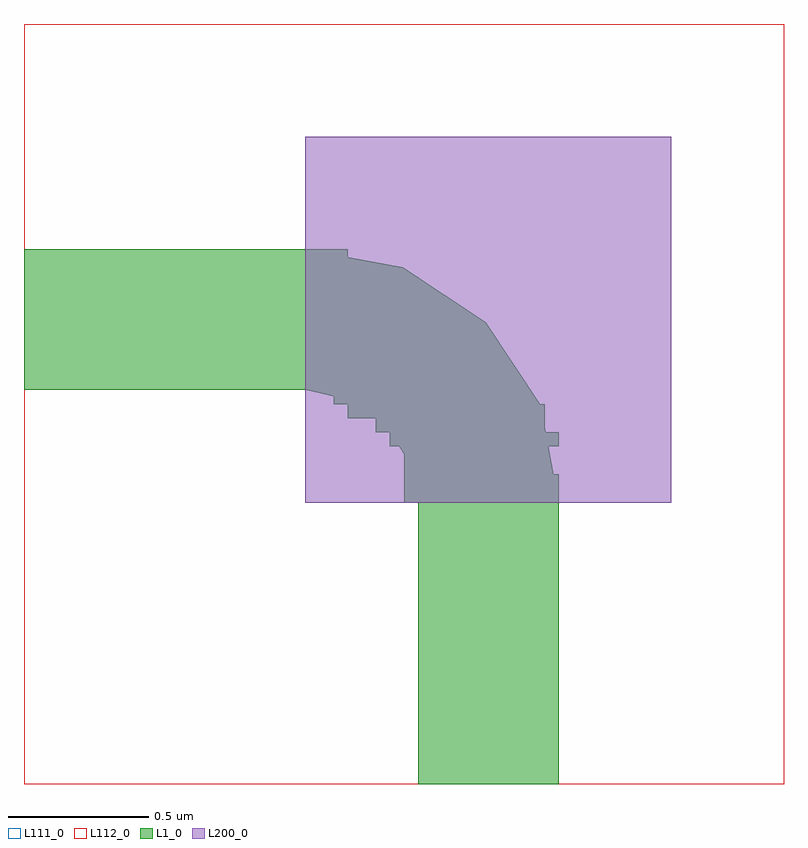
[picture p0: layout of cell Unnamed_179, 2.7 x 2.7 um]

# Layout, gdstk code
from math import pi, radians
import gdstk
lib = gdstk.Library(unit=1e-6, precision=1e-09)
def R(c, l, rs):  # rectangles x0, y0, x1, y1
    for r in rs: c.add(gdstk.rectangle(r[:2], r[2:], *l))
def P(c, l, *ps):  # polygons
    for p in ps: c.add(gdstk.Polygon(p, *l))
L1_0 = (1, 0)
L111_0 = (111, 0)
L112_0 = (112, 0)
L200_0 = (200, 0)

unnamed_178 = lib.new_cell('Unnamed_178')
R(unnamed_178, L1_0, [(0.4,-1,0.9,0), (-1,0.4,0,0.9)])

unnamed_180 = lib.new_cell('Unnamed_180')
R(unnamed_180, L1_0, [(0.4,-1,0.9,0), (0.4,-1,0.9,0), (-1,0.4,0,0.9)])
P(unnamed_180, L1_0, [(0.4,0),(0.365,0.151),(0.279,0.279),(0.151,0.365),(0,0.4),(0,0.9),(0.346,0.836),(0.64,0.64),(0.836,0.346),(0.9,0)],
  [(0.4,0),(0.365,0.151),(0.279,0.279),(0.151,0.365),(0,0.4),(0,0.9),(0.346,0.836),(0.64,0.64),(0.836,0.346),(0.9,0)],
  [(0.4,0),(0.365,0.151),(0.279,0.279),(0.151,0.365),(0,0.4),(0,0.9),(0.346,0.836),(0.64,0.64),(0.836,0.346),(0.9,0)])

unnamed_181 = lib.new_cell('Unnamed_181')
R(unnamed_181, L111_0, [(-1,-1,1.7,1.7)])

unnamed_182 = lib.new_cell('Unnamed_182')
R(unnamed_182, L112_0, [(-1,-1,1.7,1.7)])

unnamed_183 = lib.new_cell('Unnamed_183')
R(unnamed_183, L200_0, [(0,0,1.3,1.3)])

cell = lib.new_cell('CELL')
R(cell, L1_0, [(0,0,1,1)])

grid = lib.new_cell('GRID')
grid.add(gdstk.Reference(cell, (9,25)))
grid.add(gdstk.Reference(cell, (9,24)))
grid.add(gdstk.Reference(cell, (9,23)))
grid.add(gdstk.Reference(cell, (9,22)))
grid.add(gdstk.Reference(cell, (9,21)))
grid.add(gdstk.Reference(cell, (9,20)))
grid.add(gdstk.Reference(cell, (9,19)))
grid.add(gdstk.Reference(cell, (9,18)))
grid.add(gdstk.Reference(cell, (9,17)))
grid.add(gdstk.Reference(cell, (10,25)))
grid.add(gdstk.Reference(cell, (10,24)))
grid.add(gdstk.Reference(cell, (10,23)))
grid.add(gdstk.Reference(cell, (10,22)))
grid.add(gdstk.Reference(cell, (10,21)))
grid.add(gdstk.Reference(cell, (10,20)))
grid.add(gdstk.Reference(cell, (10,19)))
grid.add(gdstk.Reference(cell, (10,18)))
grid.add(gdstk.Reference(cell, (10,17)))
grid.add(gdstk.Reference(cell, (11,25)))
grid.add(gdstk.Reference(cell, (11,24)))
grid.add(gdstk.Reference(cell, (11,23)))
grid.add(gdstk.Reference(cell, (11,22)))
grid.add(gdstk.Reference(cell, (11,21)))
grid.add(gdstk.Reference(cell, (11,20)))
grid.add(gdstk.Reference(cell, (11,19)))
grid.add(gdstk.Reference(cell, (11,18)))
grid.add(gdstk.Reference(cell, (11,17)))
grid.add(gdstk.Reference(cell, (12,25)))
grid.add(gdstk.Reference(cell, (12,24)))
grid.add(gdstk.Reference(cell, (12,23)))
grid.add(gdstk.Reference(cell, (12,22)))
grid.add(gdstk.Reference(cell, (12,21)))
grid.add(gdstk.Reference(cell, (12,20)))
grid.add(gdstk.Reference(cell, (12,19)))
grid.add(gdstk.Reference(cell, (12,18)))
grid.add(gdstk.Reference(cell, (12,17)))
grid.add(gdstk.Reference(cell, (13,25)))
grid.add(gdstk.Reference(cell, (13,24)))
grid.add(gdstk.Reference(cell, (13,23)))
grid.add(gdstk.Reference(cell, (13,22)))
grid.add(gdstk.Reference(cell, (13,21)))
grid.add(gdstk.Reference(cell, (13,20)))
grid.add(gdstk.Reference(cell, (13,19)))
grid.add(gdstk.Reference(cell, (13,18)))
grid.add(gdstk.Reference(cell, (13,17)))
grid.add(gdstk.Reference(cell, (14,25)))
grid.add(gdstk.Reference(cell, (14,24)))
grid.add(gdstk.Reference(cell, (14,23)))
grid.add(gdstk.Reference(cell, (14,22)))
grid.add(gdstk.Reference(cell, (14,21)))
grid.add(gdstk.Reference(cell, (14,20)))
grid.add(gdstk.Reference(cell, (14,19)))
grid.add(gdstk.Reference(cell, (14,18)))
grid.add(gdstk.Reference(cell, (14,17)))
grid.add(gdstk.Reference(cell, (15,25)))
grid.add(gdstk.Reference(cell, (15,24)))
grid.add(gdstk.Reference(cell, (15,23)))
grid.add(gdstk.Reference(cell, (15,22)))
grid.add(gdstk.Reference(cell, (15,21)))
grid.add(gdstk.Reference(cell, (15,20)))
grid.add(gdstk.Reference(cell, (15,19)))
grid.add(gdstk.Reference(cell, (15,18)))
grid.add(gdstk.Reference(cell, (16,25)))
grid.add(gdstk.Reference(cell, (16,24)))
grid.add(gdstk.Reference(cell, (16,23)))
grid.add(gdstk.Reference(cell, (16,22)))
grid.add(gdstk.Reference(cell, (17,25)))
grid.add(gdstk.Reference(cell, (17,24)))
grid.add(gdstk.Reference(cell, (17,23)))
grid.add(gdstk.Reference(cell, (8,21)))
grid.add(gdstk.Reference(cell, (8,20)))
grid.add(gdstk.Reference(cell, (8,19)))
grid.add(gdstk.Reference(cell, (8,18)))
grid.add(gdstk.Reference(cell, (8,17)))
grid.add(gdstk.Reference(cell, (0,18)))
grid.add(gdstk.Reference(cell, (0,17)))
grid.add(gdstk.Reference(cell, (1,18)))
grid.add(gdstk.Reference(cell, (1,17)))
grid.add(gdstk.Reference(cell, (2,18)))
grid.add(gdstk.Reference(cell, (2,17)))
grid.add(gdstk.Reference(cell, (3,18)))
grid.add(gdstk.Reference(cell, (3,17)))
grid.add(gdstk.Reference(cell, (4,19)))
grid.add(gdstk.Reference(cell, (4,18)))
grid.add(gdstk.Reference(cell, (4,17)))
grid.add(gdstk.Reference(cell, (5,20)))
grid.add(gdstk.Reference(cell, (5,19)))
grid.add(gdstk.Reference(cell, (5,18)))
grid.add(gdstk.Reference(cell, (5,17)))
grid.add(gdstk.Reference(cell, (6,22)))
grid.add(gdstk.Reference(cell, (6,21)))
grid.add(gdstk.Reference(cell, (6,20)))
grid.add(gdstk.Reference(cell, (6,19)))
grid.add(gdstk.Reference(cell, (6,18)))
grid.add(gdstk.Reference(cell, (6,17)))
grid.add(gdstk.Reference(cell, (7,23)))
grid.add(gdstk.Reference(cell, (7,22)))
grid.add(gdstk.Reference(cell, (7,21)))
grid.add(gdstk.Reference(cell, (7,20)))
grid.add(gdstk.Reference(cell, (7,19)))
grid.add(gdstk.Reference(cell, (7,18)))
grid.add(gdstk.Reference(cell, (7,17)))
grid.add(gdstk.Reference(cell, (8,25)))
grid.add(gdstk.Reference(cell, (8,24)))
grid.add(gdstk.Reference(cell, (8,23)))
grid.add(gdstk.Reference(cell, (8,22)))
grid.add(gdstk.Reference(cell, (8,13)))
grid.add(gdstk.Reference(cell, (8,12)))
grid.add(gdstk.Reference(cell, (8,11)))
grid.add(gdstk.Reference(cell, (3,13)))
grid.add(gdstk.Reference(cell, (3,12)))
grid.add(gdstk.Reference(cell, (3,11)))
grid.add(gdstk.Reference(cell, (3,10)))
grid.add(gdstk.Reference(cell, (3,9)))
grid.add(gdstk.Reference(cell, (0,10)))
grid.add(gdstk.Reference(cell, (0,9)))
grid.add(gdstk.Reference(cell, (0,8)))
grid.add(gdstk.Reference(cell, (4,16)))
grid.add(gdstk.Reference(cell, (4,15)))
grid.add(gdstk.Reference(cell, (4,14)))
grid.add(gdstk.Reference(cell, (4,13)))
grid.add(gdstk.Reference(cell, (4,12)))
grid.add(gdstk.Reference(cell, (4,11)))
grid.add(gdstk.Reference(cell, (4,10)))
grid.add(gdstk.Reference(cell, (4,9)))
grid.add(gdstk.Reference(cell, (4,8)))
grid.add(gdstk.Reference(cell, (0,16)))
grid.add(gdstk.Reference(cell, (0,15)))
grid.add(gdstk.Reference(cell, (1,16)))
grid.add(gdstk.Reference(cell, (1,15)))
grid.add(gdstk.Reference(cell, (5,16)))
grid.add(gdstk.Reference(cell, (5,15)))
grid.add(gdstk.Reference(cell, (5,14)))
grid.add(gdstk.Reference(cell, (5,13)))
grid.add(gdstk.Reference(cell, (5,12)))
grid.add(gdstk.Reference(cell, (5,11)))
grid.add(gdstk.Reference(cell, (5,10)))
grid.add(gdstk.Reference(cell, (5,9)))
grid.add(gdstk.Reference(cell, (1,14)))
grid.add(gdstk.Reference(cell, (1,13)))
grid.add(gdstk.Reference(cell, (1,12)))
grid.add(gdstk.Reference(cell, (1,11)))
grid.add(gdstk.Reference(cell, (1,10)))
grid.add(gdstk.Reference(cell, (1,9)))
grid.add(gdstk.Reference(cell, (6,16)))
grid.add(gdstk.Reference(cell, (6,15)))
grid.add(gdstk.Reference(cell, (6,14)))
grid.add(gdstk.Reference(cell, (6,13)))
grid.add(gdstk.Reference(cell, (6,12)))
grid.add(gdstk.Reference(cell, (6,11)))
grid.add(gdstk.Reference(cell, (6,10)))
grid.add(gdstk.Reference(cell, (6,9)))
grid.add(gdstk.Reference(cell, (1,8)))
grid.add(gdstk.Reference(cell, (0,14)))
grid.add(gdstk.Reference(cell, (0,13)))
grid.add(gdstk.Reference(cell, (2,16)))
grid.add(gdstk.Reference(cell, (2,15)))
grid.add(gdstk.Reference(cell, (2,14)))
grid.add(gdstk.Reference(cell, (2,13)))
grid.add(gdstk.Reference(cell, (7,16)))
grid.add(gdstk.Reference(cell, (7,15)))
grid.add(gdstk.Reference(cell, (7,14)))
grid.add(gdstk.Reference(cell, (7,13)))
grid.add(gdstk.Reference(cell, (7,12)))
grid.add(gdstk.Reference(cell, (7,11)))
grid.add(gdstk.Reference(cell, (7,10)))
grid.add(gdstk.Reference(cell, (2,12)))
grid.add(gdstk.Reference(cell, (2,11)))
grid.add(gdstk.Reference(cell, (2,10)))
grid.add(gdstk.Reference(cell, (2,9)))
grid.add(gdstk.Reference(cell, (0,12)))
grid.add(gdstk.Reference(cell, (0,11)))
grid.add(gdstk.Reference(cell, (3,16)))
grid.add(gdstk.Reference(cell, (3,15)))
grid.add(gdstk.Reference(cell, (3,14)))
grid.add(gdstk.Reference(cell, (8,16)))
grid.add(gdstk.Reference(cell, (8,15)))
grid.add(gdstk.Reference(cell, (8,14)))
grid.add(gdstk.Reference(cell, (12,15)))
grid.add(gdstk.Reference(cell, (12,14)))
grid.add(gdstk.Reference(cell, (10,13)))
grid.add(gdstk.Reference(cell, (11,16)))
grid.add(gdstk.Reference(cell, (11,15)))
grid.add(gdstk.Reference(cell, (11,14)))
grid.add(gdstk.Reference(cell, (11,13)))
grid.add(gdstk.Reference(cell, (10,12)))
grid.add(gdstk.Reference(cell, (9,12)))
grid.add(gdstk.Reference(cell, (9,16)))
grid.add(gdstk.Reference(cell, (9,15)))
grid.add(gdstk.Reference(cell, (13,16)))
grid.add(gdstk.Reference(cell, (9,14)))
grid.add(gdstk.Reference(cell, (9,13)))
grid.add(gdstk.Reference(cell, (10,16)))
grid.add(gdstk.Reference(cell, (10,15)))
grid.add(gdstk.Reference(cell, (10,14)))
grid.add(gdstk.Reference(cell, (12,16)))

top = lib.new_cell('TOP')
top.add(gdstk.Reference(grid, (0,0), magnification=0.05))

unnamed_179 = lib.new_cell('Unnamed_179')
unnamed_179.add(gdstk.Reference(unnamed_178, (0,0)))
unnamed_179.add(gdstk.Reference(unnamed_180, (0,0)))
unnamed_179.add(gdstk.Reference(unnamed_181, (0,0)))
unnamed_179.add(gdstk.Reference(unnamed_182, (0,0)))
unnamed_179.add(gdstk.Reference(unnamed_183, (0,0)))
unnamed_179.add(gdstk.Reference(top, (1.3,0), rotation=pi/2))

lib.write_gds('Unnamed_179.gds')
